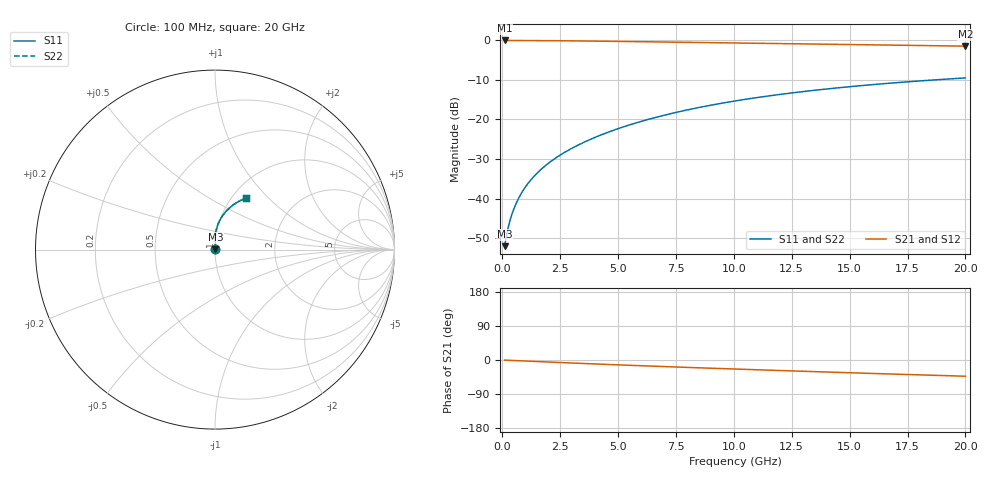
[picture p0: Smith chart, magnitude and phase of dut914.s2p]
! Touchstone file exported from HFSS 2024.1.0
!  File:  C:/UserFiles/LocalFiles/RDL_TSV_Batchsim/temp_RDL_bottom_914_1779940615.aedt
!  Generated:  11:59:27 AM May 28, 2026
!  Design:  RDL_bottom
!  Project:  temp_RDL_bottom_914_1779940615
!  Setup:  Setup1
!  Solution:  Sweep
! Variables:
!  dtsv = 10.80580581um
!  hbump = 3um
!  htsv = 67.93um
!  ldown = 639.49um
!  lrdl = 100um
!  p = 40
!  p1 = 54.22um
!  rhole = 1um
!  t = 450um
!  tdown = 4.77um
!  trdl = 3.915915916um
!  wdown = 27.67um
!  wrdl = 20um
# GHz S MA R 50.000000
! Terminal data exported
! Port[1] = RDL1_T1
! Port[2] = RDL1_T2
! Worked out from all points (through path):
!   200 points, 100 MHz to 20 GHz, reference 50 ohm
!   highest |S21| = -0.02 dB at 100 MHz (marker M1); lowest = -1.5 dB at 20 GHz (marker M2)
!   group delay of S21, straight-line fit = 5.86 ps
!   lowest |S11| = -52.0 dB at 100 MHz (marker M3), VSWR 1.01, Z = 50.2 + j0.159 ohm
!   |S11| at or under -10 dB: start of sweep to 18.64 GHz
!   |S22| runs from -52.0 to -9.5 dB; largest |S21 - S12| = 5e-15
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0.1  0.0025 39.3  0.998 -0.3  0.998 -0.3  0.0025 39.3
! Gamma 0 0 0 0
! Port Impedance 50 0 50 0
0.2  0.003674 55.3  0.9978 -0.6  0.9978 -0.6  0.003674 55.3
0.3  0.004896 63.4  0.9977 -0.8  0.9977 -0.8  0.004896 63.4
0.4  0.006139 68.5  0.9975 -1.1  0.9975 -1.1  0.006139 68.5
0.5  0.007406 72.2  0.9973 -1.4  0.9973 -1.4  0.007406 72.2
0.6  0.008697 74.9  0.9971 -1.6  0.9971 -1.6  0.008697 74.9
0.8  0.01133 78.7  0.9967 -2.2  0.9967 -2.2  0.01133 78.6
1.1  0.01538 82.1  0.996 -3.0  0.996 -3.0  0.01538 82.1
1.5  0.02093 84.8  0.9946 -4.0  0.9946 -4.0  0.02093 84.8
2.1  0.02952 87.0  0.9919 -5.6  0.9919 -5.6  0.02952 87.0
2.7  0.03849 88.3  0.9885 -7.2  0.9885 -7.2  0.03849 88.3
3.5  0.05107 89.1  0.9831 -9.2  0.9831 -9.2  0.05107 89.1
4.2  0.06266 89.2  0.9778 -10.9  0.9778 -10.9  0.06266 89.2
5  0.07653 88.8  0.9713 -12.8  0.9713 -12.8  0.07653 88.8
5.9  0.09279 87.8  0.9637 -14.9  0.9637 -14.9  0.09278 87.8
6.8  0.1096 86.5  0.9559 -16.9  0.9559 -16.9  0.1095 86.5
8.4  0.14 83.5  0.9419 -20.4  0.9419 -20.4  0.14 83.5
10.1  0.1723 79.9  0.9272 -24.0  0.9272 -24.0  0.1723 79.9
11.7  0.2021 76.4  0.9137 -27.2  0.9137 -27.2  0.2021 76.3
13.4  0.2325 72.6  0.8995 -30.6  0.8995 -30.6  0.2325 72.5
16.7  0.2871 65.4  0.8725 -36.8  0.8725 -36.8  0.2871 65.4
20  0.3352 58.7  0.8462 -42.8  0.8462 -42.8  0.3351 58.7
